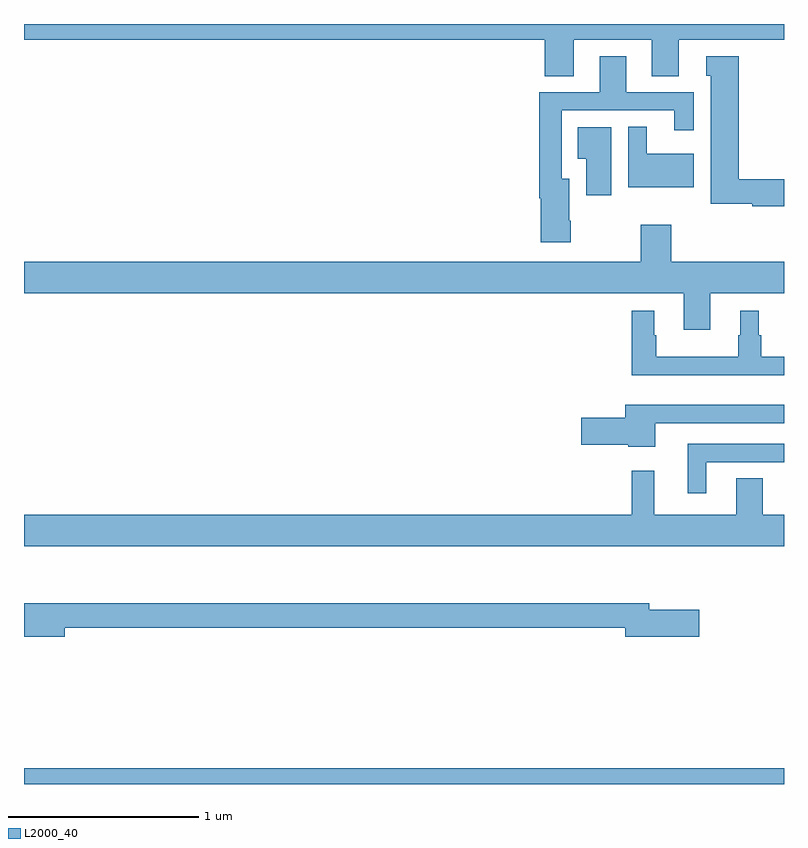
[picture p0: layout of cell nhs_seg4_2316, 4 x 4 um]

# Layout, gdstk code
import gdstk
lib = gdstk.Library(unit=1e-6, precision=1e-09)
def R(c, l, rs):  # rectangles x0, y0, x1, y1
    for r in rs: c.add(gdstk.rectangle(r[:2], r[2:], *l))
def P(c, l, *ps):  # polygons
    for p in ps: c.add(gdstk.Polygon(p, *l))
L2000_40 = (2000, 40)

nhs_seg4_2316 = lib.new_cell('nhs_seg4_2316')
R(nhs_seg4_2316, L2000_40, [(231,796.9,235,796.984)])
P(nhs_seg4_2316, L2000_40, [(233.893,800.816),(234.305,800.816),(234.305,800.626),(234.445,800.626),(234.445,800.816),(235,800.816),(235,800.9),(231,800.9),(231,800.816),(233.741,800.816),(233.741,800.626),(233.893,800.626)],
  [(233.877,799.864),(233.869,799.864),(233.869,800.086),(233.829,800.086),(233.829,800.445),(234.422,800.445),(234.422,800.34),(234.526,800.34),(234.526,800.541),(234.169,800.541),(234.169,800.731),(234.029,800.731),(234.029,800.541),(233.713,800.541),(233.713,799.982),(233.72,799.982),(233.72,799.752),(233.877,799.752)],
  [(235,800.084),(234.761,800.084),(234.761,800.731),(234.59,800.731),(234.59,800.628),(234.614,800.628),(234.614,799.954),(234.834,799.954),(234.834,799.942),(235,799.942)],
  [(234.526,800.218),(234.277,800.218),(234.277,800.36),(234.18,800.36),(234.18,800.042),(234.526,800.042)],
  [(234.091,800.356),(233.914,800.356),(233.914,800.192),(233.96,800.192),(233.96,799.998),(234.091,799.998)],
  [(234.613,799.484),(235,799.484),(235,799.648),(234.407,799.648),(234.407,799.843),(234.247,799.843),(234.247,799.648),(231,799.648),(231,799.484),(234.473,799.484),(234.473,799.29),(234.613,799.29)],
  [(235,799.15),(234.88,799.15),(234.88,799.262),(234.868,799.262),(234.868,799.39),(234.77,799.39),(234.77,799.262),(234.759,799.262),(234.759,799.15),(234.328,799.15),(234.328,799.262),(234.316,799.262),(234.316,799.39),(234.199,799.39),(234.199,799.052),(235,799.052)],
  [(234.322,798.798),(235,798.798),(235,798.895),(234.164,798.895),(234.164,798.827),(233.934,798.827),(233.934,798.685),(234.18,798.685),(234.18,798.674),(234.322,798.674)],
  [(234.592,798.594),(235,798.594),(235,798.69),(234.494,798.69),(234.494,798.429),(234.592,798.429)],
  [(235,798.316),(234.889,798.316),(234.889,798.509),(234.749,798.509),(234.749,798.316),(234.317,798.316),(234.317,798.55),(234.199,798.55),(234.199,798.316),(231,798.316),(231,798.152),(235,798.152)],
  [(231.214,797.722),(234.164,797.722),(234.164,797.675),(234.553,797.675),(234.553,797.817),(234.292,797.817),(234.292,797.851),(231,797.851),(231,797.675),(231.214,797.675)])

lib.write_gds('nhs_seg4_2316.gds')
